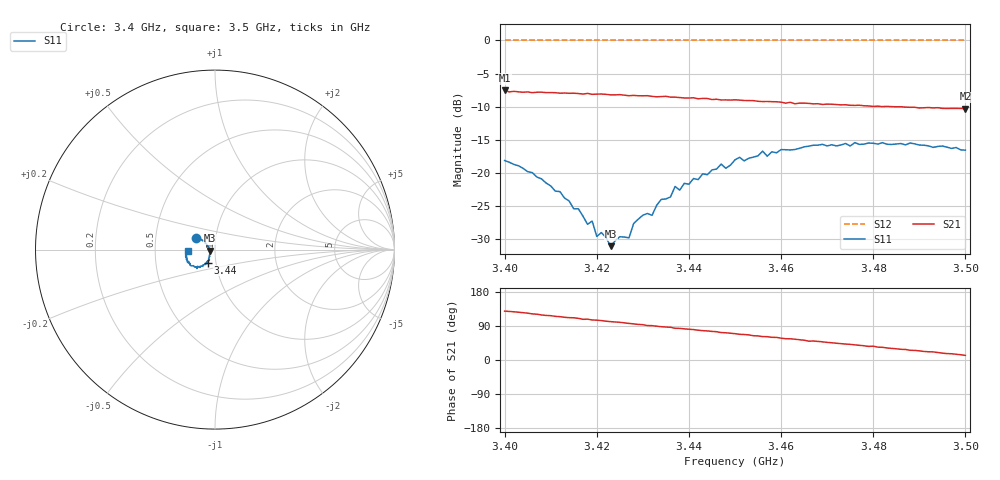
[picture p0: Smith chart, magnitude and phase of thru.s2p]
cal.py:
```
import skrf
from skrf.calibration import SOLT
import numpy as np

### Create ideals ###
freq = skrf.Frequency(3400, 3500, 101, 'mhz')
s = np.arange(101*2*2, dtype='complex_')
s = s.reshape((101,2,2))
# Open
s_open = 1*np.ones_like(s)
s_open[:,0,1] = np.nan+np.nan*1j
s_open[:,1,0] = 0
s_open[:,1,1] = np.nan+np.nan*1j
ntw_open = skrf.Network(frequency=freq, s=s_open)
ntw_open.write_touchstone('ideal/open')
# Short
s_short = -1*np.ones_like(s)
s_short[:,0,1] = np.nan+np.nan*1j
s_short[:,1,0] = 0
s_short[:,1,1] = np.nan+np.nan*1j
ntw_short = skrf.Network(frequency=freq, s=s_short)
ntw_short.write_touchstone('ideal/short')
# Load
s_load = 0*np.ones_like(s)
s_load[:,0,1] = np.nan+np.nan*1j
s_load[:,1,0] = 0
s_load[:,1,1] = np.nan+np.nan*1j
ntw_load = skrf.Network(frequency=freq, s=s_load)
ntw_load.write_touchstone('ideal/load')
# Thru
s_thru = 0*np.ones_like(s)
s_thru[:,0,1] = np.nan+np.nan*1j
s_thru[:,1,0] = 1+0j
s_thru[:,1,1] = np.nan+np.nan*1j
ntw_thru = skrf.Network(frequency=freq, s=s_thru)
ntw_thru.write_touchstone('ideal/thru')

"""
# a list of Network types, holding 'ideal' responses
my_ideals = [
    skrf.Network('ideal/thru.s2p'),
    skrf.Network('ideal/short, short.s2p'),
    skrf.Network('ideal/open, open.s2p'),
    skrf.Network('ideal/load, load.s2p'),
    ]

# a list of Network types, holding 'measured' responses
my_measured = [
    skrf.Network('measured/thru.s2p'),
    skrf.Network('measured/short, short.s2p'),
    skrf.Network('measured/open, open.s2p'),
    skrf.Network('measured/load, load.s2p'),
    ]


## create a SOLT instance
cal = skrf.calibration.SOLT(
    ideals = my_ideals,
    measured = my_measured,
    )


## run, and apply calibration to a DUT

# run calibration algorithm
cal.run()

# apply it to a dut
dut = skrf.Network('my_dut.s2p')
dut_caled = cal.apply_cal(dut)

# plot results
dut_caled.plot_s_db()
# save results
dut_caled.write_touchstone()
"""
```
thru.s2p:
!Created with skrf (http://scikit-rf.org).
# MHz S RI R 50.0
!freq ReS11 ImS11 ReS21 ImS21 ReS12 ImS12 ReS22 ImS22
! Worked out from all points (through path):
!   101 points, 3.4 GHz to 3.5 GHz, reference 50 ohm
!   highest |S21| = -7.51 dB at 3.4 GHz (marker M1); lowest = -10.3 dB at 3.5 GHz (marker M2)
!   lowest |S11| = -31.1 dB at 3.423 GHz (marker M3), VSWR 1.06, Z = 47.3 - j0.6 ohm
!   |S11| at or under -10 dB: start of sweep to end of sweep
!   |S22| runs from - to - dB; largest |S21 - S12| = 1.3
!   S11 on the Smith chart (normalised r, x): 3.4 GHz: 0.80, +0.11; 3.44 GHz: 0.91, -0.13; 3.5 GHz: 0.74, -0.01
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3400  -0.1055 0.0651  -0.2649 0.3276  1 0  0 0
3412  -0.0561 0.0455  -0.1645 0.3644  1 0  0 0
3423  -0.0272 -0.00633  -0.0753 0.3809  1 0  0 0
3427  -0.0258 -0.0195  -0.0436 0.38  1 0  0 0
3428  -0.0289 -0.0297  -0.0355 0.383  1 0  0 0
3432  -0.0301 -0.0371  -0.0044 0.3784  1 0  0 0
3437  -0.041 -0.0675  0.0415 0.3707  1 0  0 0
3440  -0.0395 -0.072  0.0562 0.363  1 0  0 0
3450  -0.0821 -0.0949  0.1252 0.3335  1 0  0 0
3476  -0.1549 -0.0683  0.248 0.2075  1 0  0 0
3500  -0.1481 -0.00884  0.2986 0.0639  1 0  0 0
